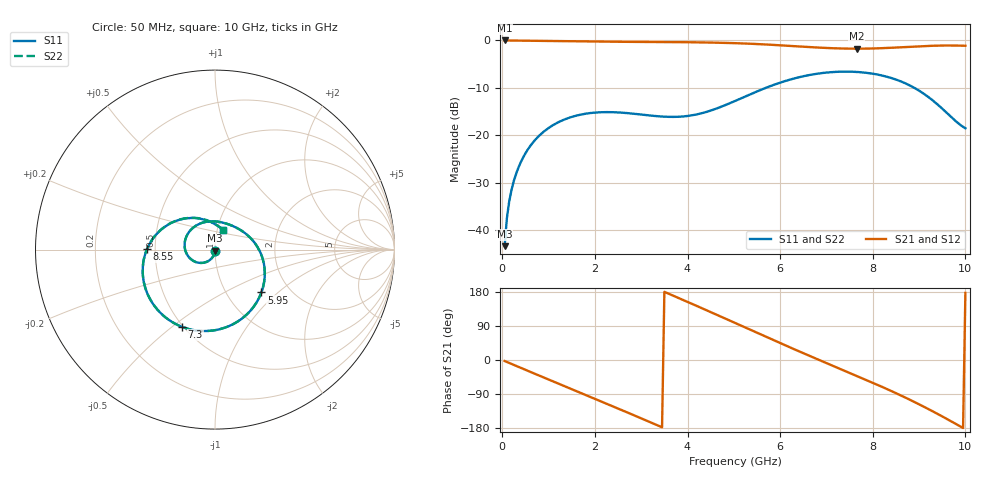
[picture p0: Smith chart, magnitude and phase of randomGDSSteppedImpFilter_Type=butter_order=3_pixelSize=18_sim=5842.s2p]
! freq	dB(S11)	phase(S11)	dB(S12)	phase(S12)
!  dB(S21)	phase(S21)	dB(S22)	phase(S22)
!S-par simulation data
#  GHz  S  DB  R 50
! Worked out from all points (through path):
!   200 points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, 50 MHz to 10 GHz, reference 50 ohm
!   highest |S21| = 0.00 dB at 50 MHz (marker M1); lowest = -1.7 dB at 7.65 GHz (marker M2)
!   group delay of S21, straight-line fit = 148 ps
!   lowest |S11| = -43.4 dB at 50 MHz (marker M3), VSWR 1.01, Z = 50 - j0.674 ohm
!   |S11| at or under -10 dB: start of sweep to 5.692 GHz; 8.896 GHz to end of sweep
!   |S22| runs from -43.4 to -6.6 dB; largest |S21 - S12| = 0
!   S11 on the Smith chart (normalised r, x): 50 MHz: 1.00, -0.01; 5.95 GHz: 1.45, -0.79; 7.3 GHz: 0.49, -0.54; 8.55 GHz: 0.45, +0.00; 10 GHz: 1.06, +0.24
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0.05  -43.41 -91.9  -0.00 -2.6  -0.00 -2.6  -43.41 -91.9
0.1  -37.42 -94.5  -0.01 -5.2  -0.01 -5.2  -37.42 -94.6
0.2  -31.49 -99.7  -0.02 -10.4  -0.02 -10.4  -31.49 -99.7
0.5  -23.82 -116.3  -0.05 -25.9  -0.05 -25.9  -23.82 -116.3
1.15  -17.57 -150.1  -0.15 -59.2  -0.15 -59.2  -17.57 -150.1
1.75  -15.55 179.3  -0.23 -89.8  -0.23 -89.8  -15.55 179.2
2.5  -15.19 140.9  -0.28 -128.1  -0.28 -128.1  -15.19 140.7
2.95  -15.58 117.5  -0.31 -151.4  -0.31 -151.4  -15.58 117.4
3.4  -16.03 93.9  -0.33 -174.9  -0.33 -174.9  -16.03 93.7
4.15  -15.70 54.1  -0.39 145.3  -0.39 145.3  -15.70 53.8
4.6  -14.46 30.0  -0.47 121.0  -0.47 121.0  -14.46 29.7
5.05  -12.67 5.8  -0.58 96.5  -0.58 96.5  -12.67 5.5
5.5  -10.76 -18.5  -0.76 71.9  -0.76 71.9  -10.76 -18.7
5.95  -9.07 -42.7  -0.99 47.4  -0.99 47.4  -9.07 -42.9
6.7  -7.18 -82.2  -1.44 7.5  -1.44 7.5  -7.18 -82.4
7.3  -6.59 -113.1  -1.69 -23.6  -1.69 -23.6  -6.60 -113.3
7.65  -6.65 -131.1  -1.74 -41.7  -1.74 -41.7  -6.65 -131.3
8.35  -7.78 -168.8  -1.57 -79.0  -1.57 -79.0  -7.79 -169.0
8.55  -8.43 179.7  -1.47 -90.3  -1.47 -90.3  -8.43 179.4
9.25  -12.31 134.6  -1.14 -132.6  -1.14 -132.6  -12.31 134.1
9.65  -15.76 102.7  -1.07 -158.9  -1.07 -158.9  -15.75 102.0
10  -18.53 68.3  -1.13 177.0  -1.13 177.0  -18.49 67.2
